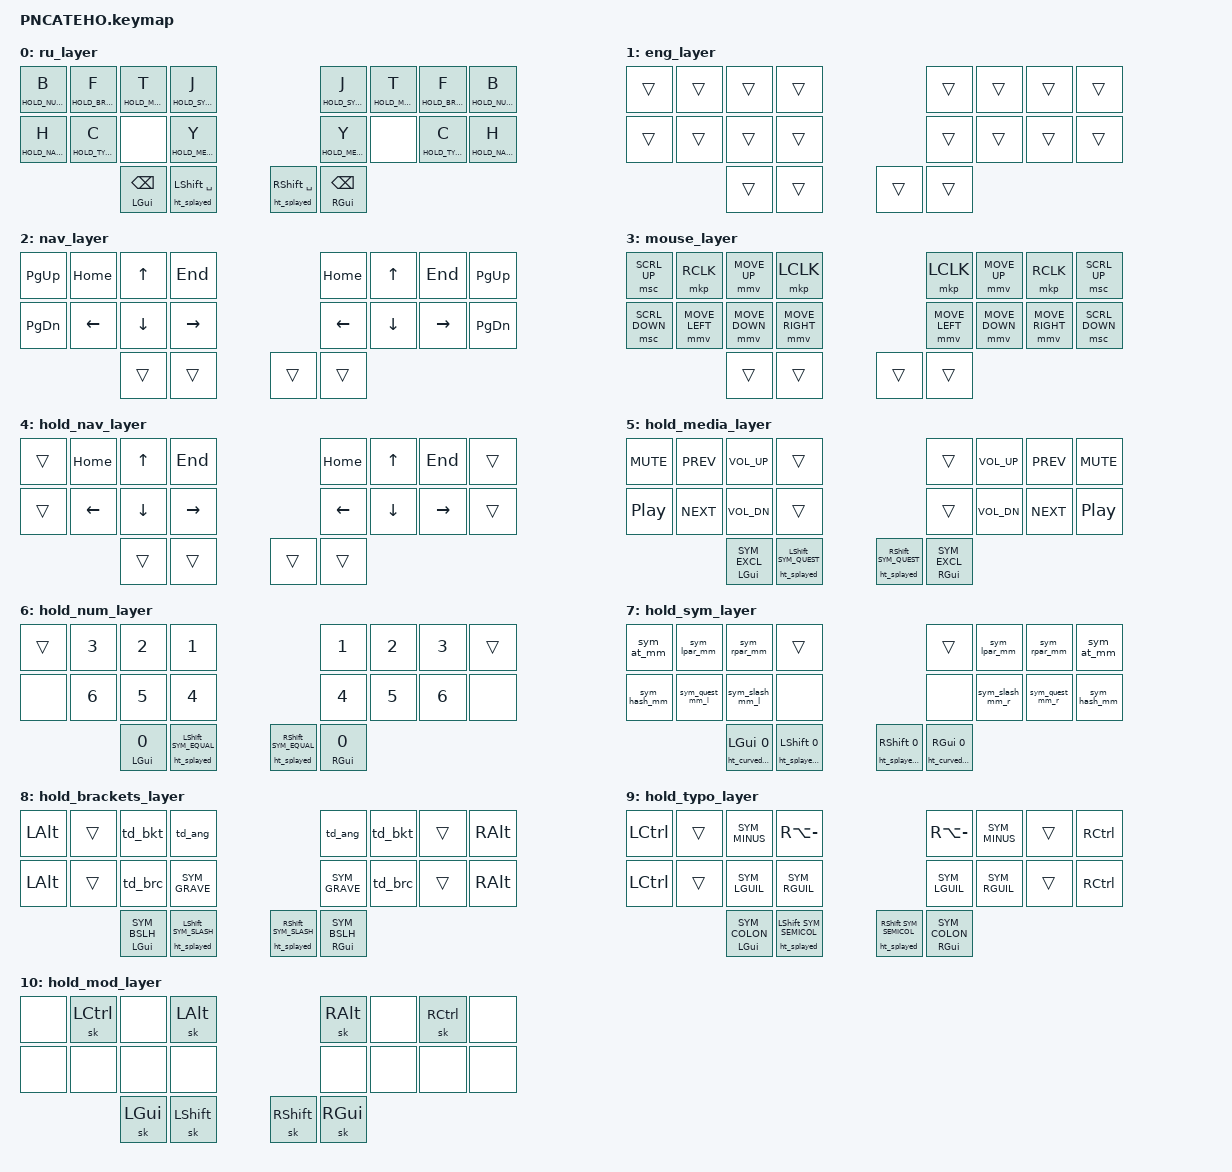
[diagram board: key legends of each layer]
/*
 * Copyright (c) 2020 The ZMK Contributors
 *
 * SPDX-License-Identifier: MIT
 */
#include <behaviors.dtsi>
#include <dt-bindings/zmk/bt.h>
#include <dt-bindings/zmk/keys.h>
#include <dt-bindings/zmk/outputs.h>
#include <dt-bindings/zmk/ext_power.h>
#include <dt-bindings/zmk/pointing.h>
#include "chord_macros.dtsi"
#include "custom_variables.dtsi"


// Глобальные параметры скорости/ускорения мыши: &mmv для движения курсора, &msc для скролла.
&mmv {
  time-to-max-speed-ms = <500>;
  acceleration-exponent = <1>;
};

&msc {
  time-to-max-speed-ms = <500>;
  acceleration-exponent = <1>;
};

// Глобальная настройка sticky key (&sk): как долго держится модификатор и отпускать ли его сразу после следующей клавиши.
&sk {
    release-after-ms = <STICKY_TIMEOUT>;
    quick-release;
};

/ {
  macros {
    #include "custom_macros.dtsi"
  };

  combos {
    compatible = "zmk,combos";
    #include "chords.dtsi"
  };

  behaviors {
    #include "custom_behaviors.dtsi"
  };

  keymap {
    compatible = "zmk,keymap";

    // Нижний, нулевой слой
    // &none кнопки будут заданы через комбо-аккорды в chords.dtsi
    // &lt — layer-tap клавиша, которая будет срабатывать при удержании
    ru_layer {
      bindings = <
        &lt HOLD_NUM_L B    &lt HOLD_BRACKETS_L F    &lt HOLD_MOD_L T    &lt HOLD_SYM_L J                                                       &lt HOLD_SYM_L J        &lt HOLD_MOD_L T   &lt HOLD_BRACKETS_L F   &lt HOLD_NUM_L B
        &lt HOLD_NAV_L H    &lt HOLD_TYPO_L C        &none    &lt HOLD_MEDIA_L Y                                                                &lt HOLD_MEDIA_L Y      &none              &lt HOLD_TYPO_L C       &lt HOLD_NAV_L H
                                                              &ht_curved LGUI BSPC    &ht_splayed LSHIFT SPACE      &ht_splayed RSHIFT SPACE    &ht_curved RGUI BSPC
      >;
    };

    eng_layer {
      bindings = <
        &trans    &trans    &trans    &trans                          &trans    &trans    &trans    &trans
        &trans    &trans    &trans    &trans                          &trans    &trans    &trans    &trans
                                      &trans    &trans      &trans    &trans
      >;
    };

    nav_layer {
      bindings = <
        &kp PG_UP         &kp HOME         &kp UP           &kp END                     &kp HOME           &kp UP           &kp END          &kp PG_UP
        &kp PG_DN         &kp LEFT         &kp DOWN         &kp RIGHT                   &kp LEFT           &kp DOWN         &kp RIGHT        &kp PG_DN
                                                            &trans           &trans     &trans             &trans
      >;
    };

    mouse_layer {
      bindings = <
        &msc SCRL_UP      &mkp RCLK        &mmv MOVE_UP     &mkp LCLK                              &mkp LCLK          &mmv MOVE_UP     &mkp RCLK        &msc SCRL_UP
        &msc SCRL_DOWN    &mmv MOVE_LEFT   &mmv MOVE_DOWN   &mmv MOVE_RIGHT                        &mmv MOVE_LEFT     &mmv MOVE_DOWN   &mmv MOVE_RIGHT  &msc SCRL_DOWN
                                                            &trans           &trans      &trans    &trans
      >;
    };

    hold_nav_layer {
      bindings = <
        &trans            &kp HOME         &kp UP           &kp END                               &kp HOME            &kp UP           &kp END          &trans
        &trans            &kp LEFT         &kp DOWN         &kp RIGHT                             &kp LEFT            &kp DOWN         &kp RIGHT        &trans
                                                            &trans           &trans     &trans    &trans
      >;
    };

    hold_media_layer {
      bindings = <
        &kp C_MUTE        &kp C_PREV       &kp C_VOL_UP     &trans                                                                                               &trans     &kp C_VOL_UP     &kp C_PREV       &kp C_MUTE
        &kp C_PP          &kp C_NEXT       &kp C_VOL_DN     &trans                                                                                               &trans     &kp C_VOL_DN     &kp C_NEXT       &kp C_PP
                                                            &ht_curved LGUI SYM_EXCL    &ht_splayed LSHIFT SYM_QUEST     &ht_splayed RSHIFT SYM_QUEST            &ht_curved RGUI SYM_EXCL
      >;
    };

    hold_num_layer {
      bindings = <
        &trans            &kp N3           &kp N2           &kp N1                                                                                          &kp N1     &kp N2           &kp N3           &trans
        &none             &kp N6           &kp N5           &kp N4                                                                                          &kp N4     &kp N5           &kp N6           &none
                                                            &ht_curved LGUI N0    &ht_splayed LSHIFT SYM_EQUAL     &ht_splayed RSHIFT SYM_EQUAL             &ht_curved RGUI N0
      >;
    };

    hold_sym_layer {
      bindings = <
        &sym_at_mm        &sym_lpar_mm     &sym_rpar_mm     &trans                                                                          &trans        &sym_lpar_mm     &sym_rpar_mm       &sym_at_mm
        &sym_hash_mm      &sym_quest_mm_l  &sym_slash_mm_l  &none                                                                           &none         &sym_slash_mm_r  &sym_quest_mm_r    &sym_hash_mm
                                                            &ht_curved_mg LGUI 0    &ht_splayed_mg LSHIFT 0      &ht_splayed_mg RSHIFT 0    &ht_curved_mg RGUI 0
      >;
    };

    hold_brackets_layer {
      bindings = <
        &kp LALT          &trans           &td_bkt          &td_ang                         &td_ang          &td_bkt          &trans           &kp RALT
        &kp LALT          &trans           &td_brc          &kp SYM_GRAVE                    &kp SYM_GRAVE   &td_brc          &trans           &kp RALT
                                                            &ht_curved LGUI SYM_BSLH    &ht_splayed LSHIFT SYM_SLASH      &ht_splayed RSHIFT SYM_SLASH    &ht_curved RGUI SYM_BSLH
      >;
    };

    hold_typo_layer {
      bindings = <
        &kp LCTRL         &trans           &kp SYM_MINUS    &kp RA(MINUS)                                                                                      &kp RA(MINUS)         &kp SYM_MINUS    &trans           &kp RCTRL
        &kp LCTRL         &trans           &kp SYM_LGUIL    &kp SYM_RGUIL                                                                                      &kp SYM_LGUIL         &kp SYM_RGUIL    &trans           &kp RCTRL
                                                            &ht_curved LGUI SYM_COLON    &ht_splayed LSHIFT SYM_SEMICOL      &ht_splayed RSHIFT SYM_SEMICOL    &ht_curved RGUI SYM_COLON
      >;
    };

    hold_mod_layer {
      bindings = <
        &none             &sk LCTRL        &none            &sk LALT                                             &sk RALT          &none            &sk RCTRL        &none
        &none             &none            &none            &none                                                &none             &none            &none            &none
                                                            &sk LGUI         &sk LSHIFT        &sk RSHIFT        &sk RGUI
      >;
    };
  };
};
